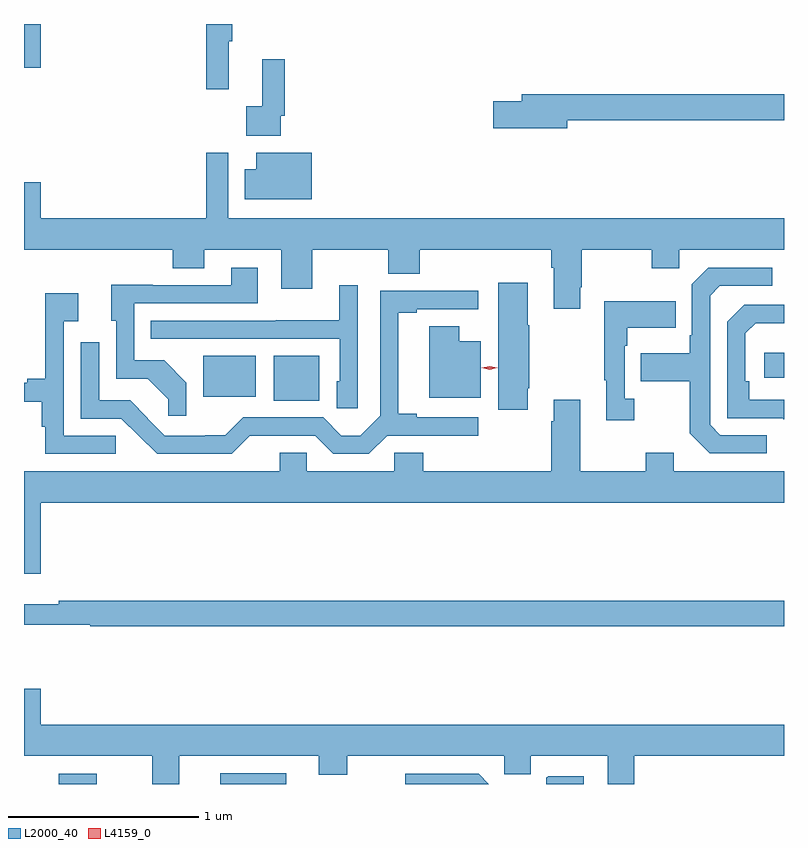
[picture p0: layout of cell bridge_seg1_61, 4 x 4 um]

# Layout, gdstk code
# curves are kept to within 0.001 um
import gdstk
lib = gdstk.Library(unit=1e-6, precision=1e-09)
def R(c, l, rs):  # rectangles x0, y0, x1, y1
    for r in rs: c.add(gdstk.rectangle(r[:2], r[2:], *l))
def P(c, l, *ps):  # polygons
    for p in ps: c.add(gdstk.Polygon(p, *l))
L2000_40 = (2000, 40)
L4159_0 = (4159, 0)

bridge_seg1_61 = lib.new_cell('bridge_seg1_61')
R(bridge_seg1_61, L2000_40, [(512.919,507.627,513.121,507.681), (513.77,507.627,514.117,507.684), (514.052,509.645,514.291,509.881), (513.68,509.666,513.958,509.881), (516.633,509.766,516.737,509.896), (512.737,511.398,512.824,511.627)])
P(bridge_seg1_61, L2000_40, [(513.815,511.536),(513.833,511.536),(513.833,511.627),(513.697,511.627),(513.697,511.284),(513.815,511.284)],
  [(514.089,511.144),(514.109,511.144),(514.109,511.441),(513.992,511.441),(513.992,511.193),(513.906,511.193),(513.906,511.04),(514.089,511.04)],
  [(515.596,511.12),(516.737,511.12),(516.737,511.256),(515.357,511.256),(515.357,511.22),(515.208,511.22),(515.208,511.078),(515.596,511.078)],
  [(514.252,510.949),(513.959,510.949),(513.959,510.862),(513.898,510.862),(513.898,510.704),(514.252,510.704)],
  [(515.665,510.241),(515.673,510.241),(515.673,510.44),(516.04,510.44),(516.04,510.341),(516.186,510.341),(516.186,510.44),(516.737,510.44),(516.737,510.604),(513.813,510.604),(513.813,510.949),(513.697,510.949),(513.697,510.604),(512.824,510.604),(512.824,510.793),(512.737,510.793),(512.737,510.44),(513.521,510.44),(513.521,510.341),(513.685,510.341),(513.685,510.44),(514.091,510.44),(514.091,510.234),(514.255,510.234),(514.255,510.44),(514.655,510.44),(514.655,510.312),(514.819,510.312),(514.819,510.44),(515.513,510.44),(515.513,510.344),(515.525,510.344),(515.525,510.129),(515.665,510.129)],
  [(516.645,509.463),(516.402,509.463),(516.348,509.517),(516.348,510.198),(516.399,510.249),(516.676,510.249),(516.676,510.345),(516.339,510.345),(516.252,510.258),(516.252,509.989),(516.24,509.989),(516.24,509.893),(515.983,509.893),(515.983,509.746),(516.24,509.746),(516.24,509.473),(516.345,509.367),(516.645,509.367)],
  [(513.591,509.74),(513.475,509.856),(513.318,509.856),(513.318,510.156),(513.967,510.156),(513.967,510.343),(513.827,510.343),(513.827,510.252),(513.415,510.252),(513.415,510.254),(513.197,510.254),(513.197,510.066),(513.222,510.066),(513.222,509.76),(513.388,509.76),(513.496,509.652),(513.496,509.565),(513.591,509.565)],
  [(515.389,509.71),(515.397,509.71),(515.397,510.041),(515.389,510.041),(515.389,510.265),(515.234,510.265),(515.234,509.598),(515.389,509.598)],
  [(514.494,510.253),(514.397,510.253),(514.397,510.067),(514.063,510.067),(514.063,510.066),(513.403,510.066),(513.403,509.97),(514.398,509.97),(514.398,509.748),(514.382,509.748),(514.382,509.605),(514.494,509.605)],
  [(513.926,509.459),(514.269,509.46),(514.365,509.364),(514.552,509.364),(514.648,509.46),(515.128,509.459),(515.128,509.556),(514.804,509.556),(514.804,509.576),(514.708,509.576),(514.708,510.106),(514.804,510.106),(514.804,510.126),(515.128,510.126),(515.128,510.224),(514.915,510.224),(514.915,510.222),(514.611,510.222),(514.611,509.565),(514.507,509.461),(514.406,509.461),(514.311,509.556),(513.891,509.556),(513.797,509.462),(513.692,509.462),(513.692,509.46),(513.477,509.46),(513.387,509.55),(513.389,509.552),(513.295,509.646),(513.132,509.646),(513.132,509.953),(513.036,509.953),(513.036,509.55),(513.249,509.55),(513.437,509.364),(513.831,509.364)],
  [(513.219,509.46),(512.946,509.46),(512.946,510.062),(513.022,510.062),(513.022,510.211),(512.849,510.211),(512.849,509.759),(512.753,509.759),(512.753,509.739),(512.737,509.739),(512.737,509.638),(512.83,509.638),(512.83,509.507),(512.849,509.507),(512.849,509.364),(513.219,509.364)],
  [(515.95,509.654),(515.898,509.654),(515.898,509.933),(515.911,509.933),(515.911,510.029),(516.167,510.029),(516.167,510.169),(515.79,510.169),(515.79,509.753),(515.801,509.753),(515.801,509.541),(515.95,509.541)],
  [(516.737,509.649),(516.554,509.649),(516.554,509.746),(516.534,509.746),(516.534,510),(516.587,510.053),(516.737,510.053),(516.737,510.15),(516.528,510.15),(516.438,510.06),(516.438,509.553),(516.733,509.553),(516.733,509.548),(516.737,509.548)],
  [(515.14,509.956),(515.029,509.956),(515.029,510.037),(514.871,510.037),(514.871,509.66),(515.14,509.66)],
  [(512.824,509.108),(516.737,509.108),(516.737,509.272),(516.157,509.272),(516.157,509.371),(516.01,509.371),(516.01,509.272),(515.665,509.272),(515.665,509.65),(515.525,509.65),(515.525,509.537),(515.513,509.537),(515.513,509.272),(514.838,509.272),(514.838,509.37),(514.686,509.37),(514.686,509.272),(514.224,509.272),(514.224,509.37),(514.082,509.37),(514.082,509.272),(512.737,509.272),(512.737,508.734),(512.824,508.734)],
  [(516.737,508.592),(512.92,508.592),(512.92,508.573),(512.737,508.573),(512.737,508.464),(513.086,508.464),(513.086,508.456),(516.737,508.456)],
  [(513.553,507.776),(514.289,507.776),(514.289,507.677),(514.437,507.677),(514.437,507.776),(515.265,507.776),(515.265,507.678),(515.404,507.678),(515.404,507.776),(515.81,507.776),(515.81,507.627),(515.95,507.627),(515.95,507.776),(516.737,507.776),(516.737,507.94),(512.824,507.94),(512.824,508.129),(512.737,508.129),(512.737,507.776),(513.413,507.776),(513.413,507.627),(513.553,507.627)],
  [(515.13,507.681),(514.743,507.681),(514.743,507.627),(515.184,507.627)],
  [(515.683,507.669),(515.496,507.669),(515.486,507.659),(515.486,507.627),(515.683,507.627)])
P(bridge_seg1_61, L4159_0, [(515.187,509.807),(515.146,509.818),(515.146,509.818),(515.146,509.818),(515.187,509.827),(515.228,509.817),(515.228,509.817),(515.228,509.817)])

lib.write_gds('bridge_seg1_61.gds')
